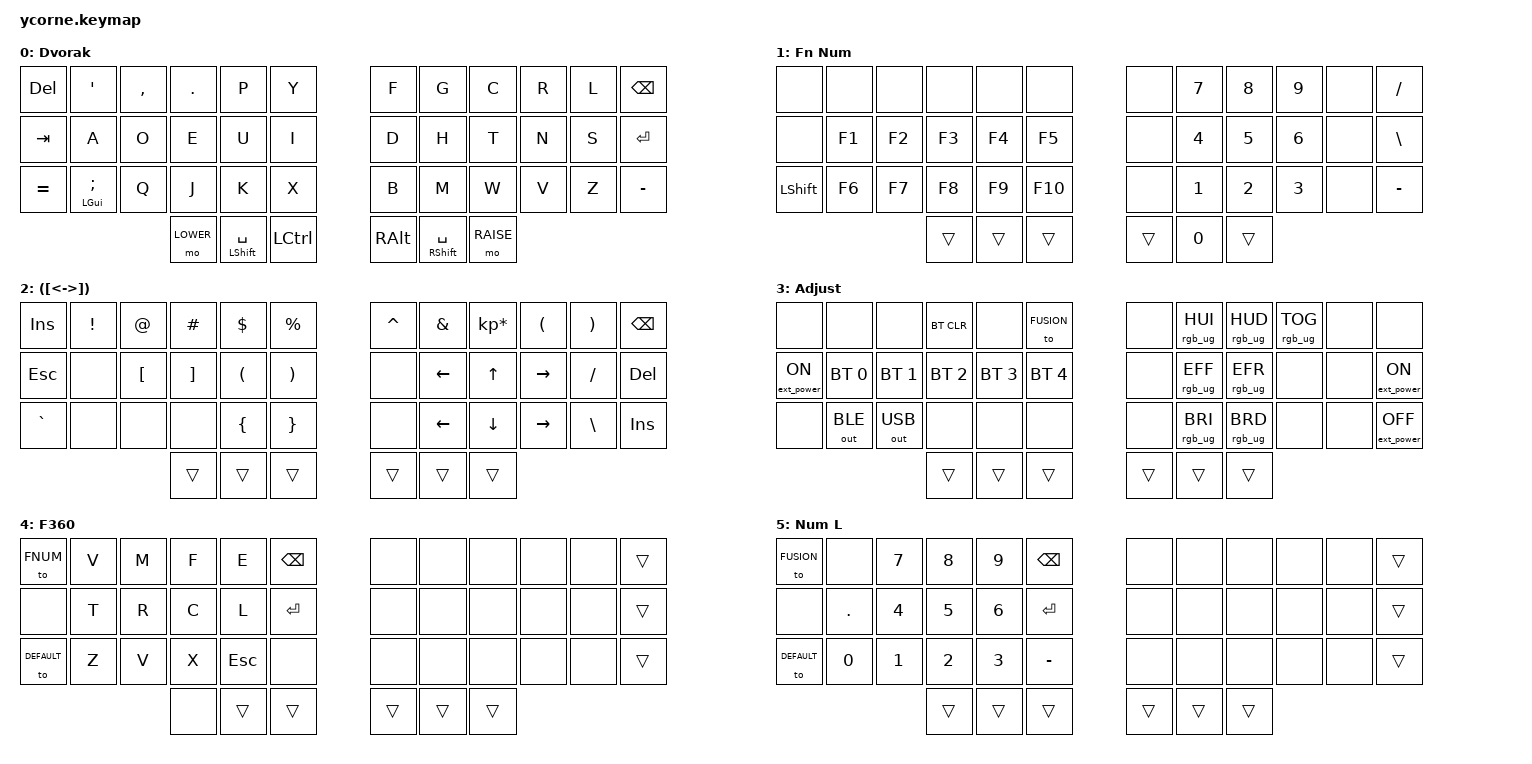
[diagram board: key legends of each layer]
/*
 * Copyright (c) 2020 The ZMK Contributors
 *
 * SPDX-License-Identifier: MIT
  */

#include <behaviors.dtsi>
#include <dt-bindings/zmk/keys.h>
#include <dt-bindings/zmk/bt.h>
#include <dt-bindings/zmk/outputs.h>
#include <dt-bindings/zmk/ext_power.h>
#include <dt-bindings/zmk/rgb.h>

#define DEFAULT 0
#define LOWER   1
#define RAISE   2
#define ADJUST  3
#define FUSION  4
#define FNUM    5

/ {
        conditional_layers {
            compatible = "zmk,conditional-layers";
                tri_layer {
                    if-layers = <RAISE LOWER>;
                    then-layer = <ADJUST>;
            };
        };
        behaviors {
            td0: tap_dance_0 {
                compatible = "zmk,behavior-tap-dance";
                label = "TAP_DANCE_0";
                #binding-cells = <0>;
                tapping-term-ms = <200>;
                bindings = <&kp TAB>, <&to FUSION>;
            };
        };        
    
        keymap {
                compatible = "zmk,keymap";

                default_layer {
                        label = " Dvorak";
// -----------------------------------------------------------------------------------------
// |  TAB |  Q  |  W  |  E  |  R  |  T  |   |  Y  |  U   |  I  |  O  |  P  | BKSP |
// | CTRL |  A  |  S  |  D  |  F  |  G  |   |  H  |  J   |  K  |  L  |  ;  |  '   |
// | SHFT |  Z  |  X  |  C  |  V  |  B  |   |  N  |  M   |  ,  |  .  |  /  | ESC  |
//                    | GUI | LWR | SPC |   | ENT | RSE  | ALT |
                        bindings = <
   &kp DEL   &kp SQT        &kp COMMA &kp DOT &kp P &kp Y   &kp F   &kp G  &kp C  &kp R  &kp L    &kp BSPC
   &kp TAB   &kp A          &kp O     &kp E   &kp U &kp I   &kp D   &kp H  &kp T  &kp N  &kp S    &kp RET 
   &kp EQUAL &mt LGUI SEMI  &kp Q     &kp J   &kp K &kp X   &kp B   &kp M  &kp W  &kp V  &kp Z    &kp MINUS
             &mo LOWER      &mt LSHIFT SPACE   &kp LCTRL &kp RALT &mt RSHIFT SPACE &mo RAISE
                        >;
                };
                lower_layer {
                        label = " Fn Num";
// -----------------------------------------------------------------------------------------
// |  TAB |  1  |  2  |  3  |  4  |  5  |   |  6  |  7  |  8  |  9  |  0  | BKSP |
// | BTCLR| BT1 | BT2 | BT3 | BT4 | BT5 |   | LFT | DWN |  UP | RGT |     |      |
// | SHFT |     |     |     |     |     |   |     |     |     |     |     |      |
//                    | GUI |     | SPC |   | ENT |     | ALT |
                        bindings = <
   &none     &none       &none       &none        &none      &none       &none    &kp N7   &kp N8  &kp N9    &none    &kp FSLH
   &none     &kp F1      &kp F2       &kp F3      &kp F4     &kp F5      &none    &kp N4   &kp N5  &kp N6    &none    &kp BSLH
   &kp LSHFT &kp F6      &kp F7       &kp F8      &kp F9     &kp F10     &none    &kp N1   &kp N2  &kp N3    &none    &kp MINUS
                         &trans     &trans       &trans     &trans      &kp N0   &trans
                        >;
                };

                raise_layer {
                        label = " ([<->])";
// -----------------------------------------------------------------------------------------
// |  TAB |  !  |  @  |  #  |  $  |  %  |   |  ^  |  &  |  *  |  (  |  )  | BKSP |
// | CTRL |     |     |     |     |     |   |  -  |  =  |  [  |  ]  |  \  |  `   |
// | SHFT |     |     |     |     |     |   |  _  |  +  |  {  |  }  | "|" |  ~   |
//                    | GUI |     | SPC |   | ENT |     | ALT |
                        bindings = <
   &kp INS       &kp EXCL &kp AT   &kp HASH  &kp DLLR  &kp PRCNT   &kp CARET &kp AMPS  &kp KP_MULTIPLY  &kp LPAR  &kp RPAR      &kp BSPC
   &kp ESC       &none    &kp LBKT &kp RBKT  &kp LPAR  &kp RPAR    &none    &kp LEFT        &kp UP     &kp RIGHT &kp SLASH      &kp DEL
   &kp GRAVE     &none    &none    &none     &kp LBRC  &kp RBRC    &none    &kp LEFT        &kp DOWN   &kp RIGHT &kp BACKSLASH  &kp INS
                              &trans &trans   &trans   &trans   &trans    &trans
                        >;
                };
                adjust_layer {
                        label = " Adjust";                   
// -----------------------------------------------------------------------------------------
// |  TAB |  1  |  2  |  3  |  4  |  5  |   |  6  |  7  |  8  |  9  |  0  | BKSP |
// | BTCLR| BT1 | BT2 | BT3 | BT4 | BT5 |   | LFT | DWN |  UP | RGT |     |      |
// | SHFT |     |     |     |     |     |   |     |     |     |     |     |      |
                        bindings = <
   &none             &none        &none         &bt BT_CLR    &none         &to FUSION    &none   &rgb_ug RGB_HUI &rgb_ug RGB_HUD  &rgb_ug RGB_TOG  &none  &none
   &ext_power EP_ON  &bt BT_SEL 0 &bt BT_SEL 1  &bt BT_SEL 2  &bt BT_SEL 3  &bt BT_SEL 4  &none   &rgb_ug RGB_EFF &rgb_ug RGB_EFR  &none            &none  &ext_power EP_ON
   &none             &out OUT_BLE &out OUT_USB  &none         &none         &none         &none   &rgb_ug RGB_BRI &rgb_ug RGB_BRD  &none            &none  &ext_power EP_OFF
                              &trans &trans   &trans   &trans   &trans    &trans
                        >;
                };
                fusion_layer {
                        label = " F360";                      
// -----------------------------------------------------------------------------------------
// |      |  v  |  M  |  F  |  E  |     |   |     |     |     |     |     |      |
// |      |  T  |  R  |  C  |  L  |     |   |     |     |     |     |     |      |
// |      |  Z  |  V  |  X  | esc |     |   |     |     |     |     |     |      |
                        bindings = <
   &to FNUM     &kp V   &kp M   &kp F   &kp E    &kp BSPC     &none   &none   &none  &none  &none  &trans
   &none        &kp T   &kp R   &kp C   &kp L    &kp RET      &none   &none   &none  &none  &none  &trans
   &to DEFAULT  &kp Z   &kp V   &kp X   &kp ESC  &none        &none   &none   &none  &none  &none  &trans  
                        &none   &trans  &trans        &trans  &trans  &trans
                        >;
                };
                fnum_layer {
                        label = " Num L";
// -----------------------------------------------------------------------------------------
// |      |  7  |  8  |  9  |     |     |   |     |     |     |     |     |      |
// |      |  4  |  5  |  6  |     |     |   |     |     |     |     |     |      |
// |   0  |  1  |  2  |  3  |     |     |   |     |     |     |     |     |      |
                        bindings = <
   &to FUSION  &none     &kp N7  &kp N8   &kp N9  &kp BSPC       &none   &none   &none  &none  &none  &trans
   &none       &kp DOT   &kp N4  &kp N5   &kp N6  &kp RET        &none   &none   &none  &none  &none  &trans
   &to DEFAULT &kp N0    &kp N1  &kp N2   &kp N3  &kp MINUS      &none   &none   &none  &none  &none  &trans
                              &trans  &trans  &trans        &trans  &trans  &trans
                        >;
                };
        };
};
